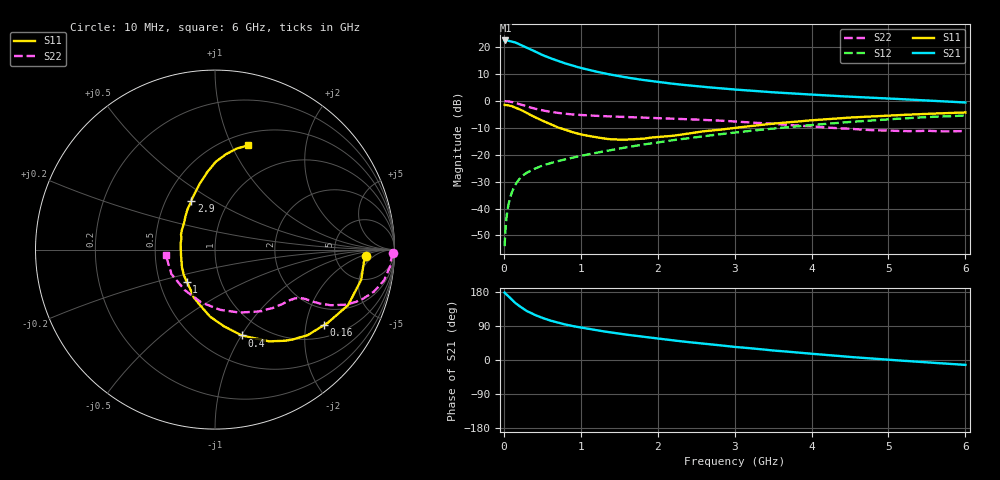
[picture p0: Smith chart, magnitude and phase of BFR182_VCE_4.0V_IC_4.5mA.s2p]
! Infineon Technologies  Discrete & RF Semiconductors
! BFR182
! VCE =  4.0 V,  IC =  4.5 mA
! Common Emitter S-Parameters:  Nov 2015
# GHz  S  MA  R  50
!  f  S11  S21  S12  S22
! GHz  MAG  ANG  MAG  ANG  MAG  ANG  MAG  ANG
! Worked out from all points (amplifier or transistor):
!   210 points, 10 MHz to 6 GHz, reference 50 ohm
!   highest |S21| = 22.4 dB at 20 MHz (marker M1)
!   |S21| within 3 dB of that: start of sweep to 323.5 MHz
!   unconditionally stable (mu >= 1): 1.141 GHz to 2.885 GHz
!   at 185 MHz: K = 0.31, MSG = 25.5 dB, |S12| = -29.7 dB
!   at 1.52 GHz: K = 1.06, MAG = 11.9 dB, |S12| = -17.6 dB
!   at 6 GHz: K = 0.88, MSG = 2.4 dB, |S12| = -5.5 dB
!   S11 on the Smith chart (normalised r, x): 10 MHz: 11, -3; 160 MHz: 1.37, -2.53; 400 MHz: 0.79, -1.00; 1 GHz: 0.69, -0.26; 2.9 GHz: 0.67, +0.40; 6 GHz: 0.63, +1.16
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0.01  0.8445 -2.3  13.18 177.9  0.002 92.7  0.9915 -1.1
0.02  0.8328 -4.5  13.24 175.6  0.0038 89.3  0.9847 -2.2
0.05  0.8317 -11.7  13.23 169.8  0.0099 84.3  0.9807 -5.4
0.1  0.8034 -22.7  12.65 160.4  0.0192 80.0  0.9575 -10.3
0.145  0.7537 -31.8  12.18 151.3  0.0268 73.4  0.9197 -14.3
0.16  0.7385 -34.8  11.96 148.9  0.0292 72.1  0.9067 -15.5
0.2  0.703 -42.7  11.3 142.7  0.035 69.4  0.8716 -18.2
0.26  0.6394 -52.6  10.3 134.2  0.0424 65.3  0.8217 -21.2
0.3  0.5939 -59.4  9.72 129.0  0.0464 64.2  0.7886 -22.9
0.4  0.5009 -72.7  8.336 119.2  0.0547 60.7  0.7174 -25.6
0.5  0.4298 -83.4  7.088 110.9  0.0626 59.2  0.6656 -27.0
0.62  0.3627 -96.2  6.096 103.2  0.0705 58.7  0.622 -27.9
0.8  0.2911 -114.1  4.954 93.6  0.082 59.0  0.5757 -28.6
1  0.2389 -131.3  4.091 85.6  0.0949 59.8  0.5461 -29.6
1.02  0.2354 -133.1  4.026 84.9  0.0963 59.9  0.544 -29.7
1.4  0.193 -168.6  3.045 72.6  0.1225 61.0  0.5132 -32.7
2.02  0.2145 149.3  2.226 56.1  0.1705 60.5  0.4792 -39.7
2.9  0.3022 115.9  1.67 36.8  0.2481 56.1  0.4227 -54.5
3.1  0.3266 111.0  1.587 32.9  0.2671 54.4  0.4055 -58.8
4.1  0.4458 94.2  1.283 14.8  0.3651 44.9  0.3272 -88.8
5.1  0.5414 82.4  1.088 -0.7  0.4631 32.7  0.2772 -131.2
6  0.6093 72.4  0.932 -12.9  0.5339 19.9  0.2756 -173.2
